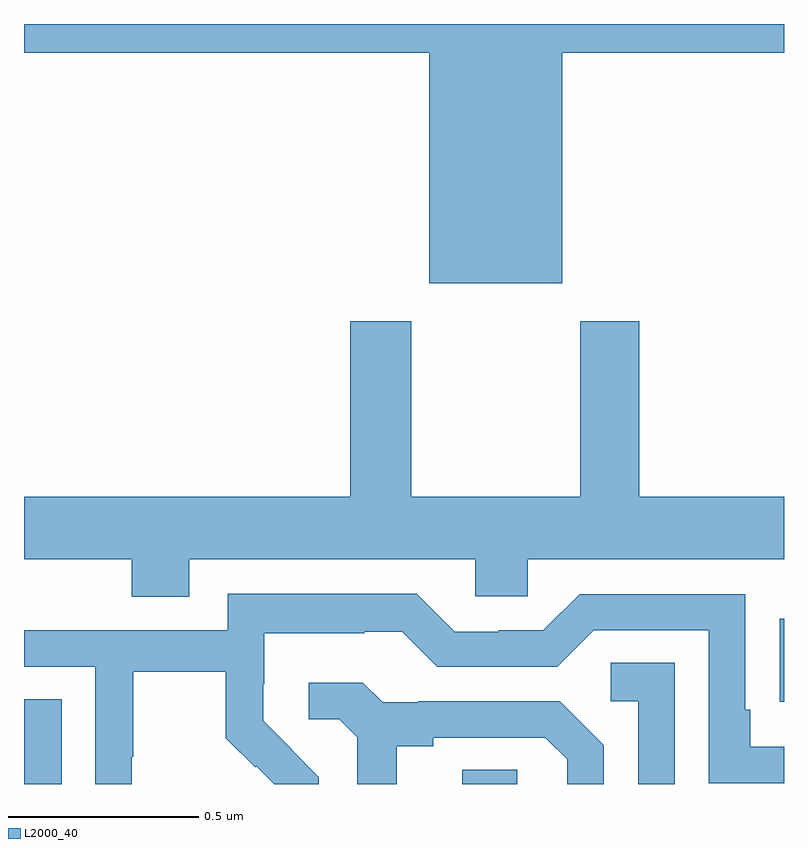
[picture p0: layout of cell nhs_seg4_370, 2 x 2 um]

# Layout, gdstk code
import gdstk
lib = gdstk.Library(unit=1e-6, precision=1e-09)
def R(c, l, rs):  # rectangles x0, y0, x1, y1
    for r in rs: c.add(gdstk.rectangle(r[:2], r[2:], *l))
def P(c, l, *ps):  # polygons
    for p in ps: c.add(gdstk.Polygon(p, *l))
L2000_40 = (2000, 40)

nhs_seg4_370 = lib.new_cell('nhs_seg4_370')
R(nhs_seg4_370, L2000_40, [(115,790.9,115.099,791.123), (116.153,790.9,116.298,790.937), (116.989,791.116,117,791.335)])
P(nhs_seg4_370, L2000_40, [(116.416,792.824),(117,792.824),(117,792.9),(115,792.9),(115,792.824),(116.066,792.824),(116.066,792.218),(116.416,792.218)],
  [(115.435,791.492),(116.187,791.492),(116.187,791.394),(116.325,791.394),(116.325,791.492),(117,791.492),(117,791.656),(116.619,791.656),(116.619,792.118),(116.464,792.118),(116.464,791.656),(116.019,791.656),(116.019,792.118),(115.859,792.118),(115.859,791.656),(115,791.656),(115,791.492),(115.283,791.492),(115.283,791.393),(115.435,791.393)],
  [(115.284,790.972),(115.287,790.972),(115.287,791.196),(115.531,791.196),(115.531,791.021),(115.608,790.944),(115.611,790.947),(115.659,790.9),(115.776,790.9),(115.776,790.918),(115.703,790.991),(115.704,790.992),(115.63,791.066),(115.63,791.163),(115.632,791.163),(115.632,791.297),(115.895,791.297),(115.895,791.301),(115.995,791.301),(116.088,791.208),(116.403,791.208),(116.499,791.304),(116.802,791.304),(116.802,790.902),(117,790.902),(117,790.998),(116.911,790.998),(116.911,791.095),(116.898,791.095),(116.898,791.4),(116.463,791.4),(116.367,791.304),(116.249,791.304),(116.249,791.301),(116.133,791.301),(116.033,791.401),(115.536,791.401),(115.536,791.304),(115,791.304),(115,791.208),(115.188,791.208),(115.188,790.9),(115.284,790.9)],
  [(116.712,791.219),(116.544,791.219),(116.544,791.118),(116.616,791.118),(116.616,790.9),(116.712,790.9)],
  [(115.981,791),(116.077,791),(116.077,791.022),(116.372,791.022),(116.429,790.965),(116.429,790.9),(116.526,790.9),(116.526,791.002),(116.41,791.118),(116.038,791.118),(116.038,791.115),(115.944,791.115),(115.892,791.167),(115.749,791.167),(115.749,791.07),(115.83,791.07),(115.877,791.023),(115.877,790.9),(115.981,790.9)])

lib.write_gds('nhs_seg4_370.gds')
